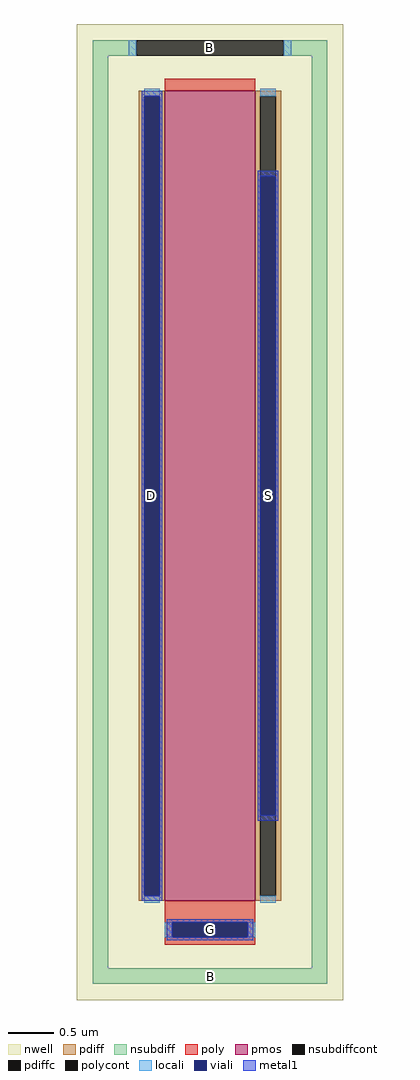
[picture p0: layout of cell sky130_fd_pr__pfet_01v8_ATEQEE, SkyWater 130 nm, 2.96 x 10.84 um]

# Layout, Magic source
magic
tech sky130A
magscale 1 2
<< nwell >>
rect -296 -1084 296 1084
<< pmos >>
rect -100 -864 100 936
<< pdiff >>
rect -158 924 -100 936
rect -158 -852 -146 924
rect -112 -852 -100 924
rect -158 -864 -100 -852
rect 100 924 158 936
rect 100 -852 112 924
rect 146 -852 158 924
rect 100 -864 158 -852
<< pdiffc >>
rect -146 -852 -112 924
rect 112 -852 146 924
<< nsubdiff >>
rect -260 1014 -164 1048
rect 164 1014 260 1048
rect -260 -1014 -226 1014
rect 226 -1014 260 1014
rect -260 -1048 260 -1014
<< nsubdiffcont >>
rect -164 1014 164 1048
<< poly >>
rect -100 936 100 962
rect -100 -911 100 -864
rect -100 -945 -84 -911
rect 84 -945 100 -911
rect -100 -961 100 -945
<< polycont >>
rect -84 -945 84 -911
<< locali >>
rect -180 1014 -164 1048
rect 164 1014 180 1048
rect -146 924 -112 940
rect -146 -868 -112 -852
rect 112 924 146 940
rect 112 -868 146 -852
rect -100 -945 -84 -911
rect 84 -945 100 -911
<< viali >>
rect -146 -852 -112 924
rect 112 -674 146 746
rect -84 -945 84 -911
<< metal1 >>
rect -152 924 -106 936
rect -152 -852 -146 924
rect -112 -852 -106 924
rect 106 746 152 758
rect 106 -674 112 746
rect 146 -674 152 746
rect 106 -686 152 -674
rect -152 -864 -106 -852
rect -96 -911 96 -905
rect -96 -945 -84 -911
rect 84 -945 96 -911
rect -96 -951 96 -945
<< labels >>
rlabel nsubdiff 0 -1031 0 -1031 0 B
port 1 nsew
rlabel pdiffc -129 36 -129 36 0 D
port 2 nsew
rlabel pdiffc 129 36 129 36 0 S
port 3 nsew
rlabel polycont 0 -928 0 -928 0 G
port 4 nsew
flabel metal1 s -131 24 -131 24 0 FreeSans 320 0 0 0 D
port 6 nsew
flabel metal1 s 129 35 129 35 0 FreeSans 320 0 0 0 S
port 8 nsew
flabel metal1 s -2 -929 -2 -929 0 FreeSans 320 0 0 0 G
port 10 nsew
flabel locali s -1 1032 -1 1032 0 FreeSans 320 0 0 0 B
port 12 nsew
<< properties >>
string FIXED_BBOX -243 -1031 243 1031
string gencell sky130_fd_pr__pfet_01v8
string library sky130
string parameters w 9 l 1 m 1 nf 1 diffcov 100 polycov 100 guard 1 glc 0 grc 0 gtc 1 gbc 0 tbcov 100 rlcov 100 topc 0 botc 1 poverlap 0 doverlap 1 lmin 0.15 wmin 0.42 class mosfet compatible {sky130_fd_pr__pfet_01v8  sky130_fd_pr__pfet_01v8_lvt sky130_fd_pr__pfet_01v8_hvt  sky130_fd_pr__pfet_g5v0d10v5} full_metal 0 viasrc 80 viadrn 100 viagate 100 viagb 0 viagr 0 viagl 0 viagt 0 doports 1
<< end >>
